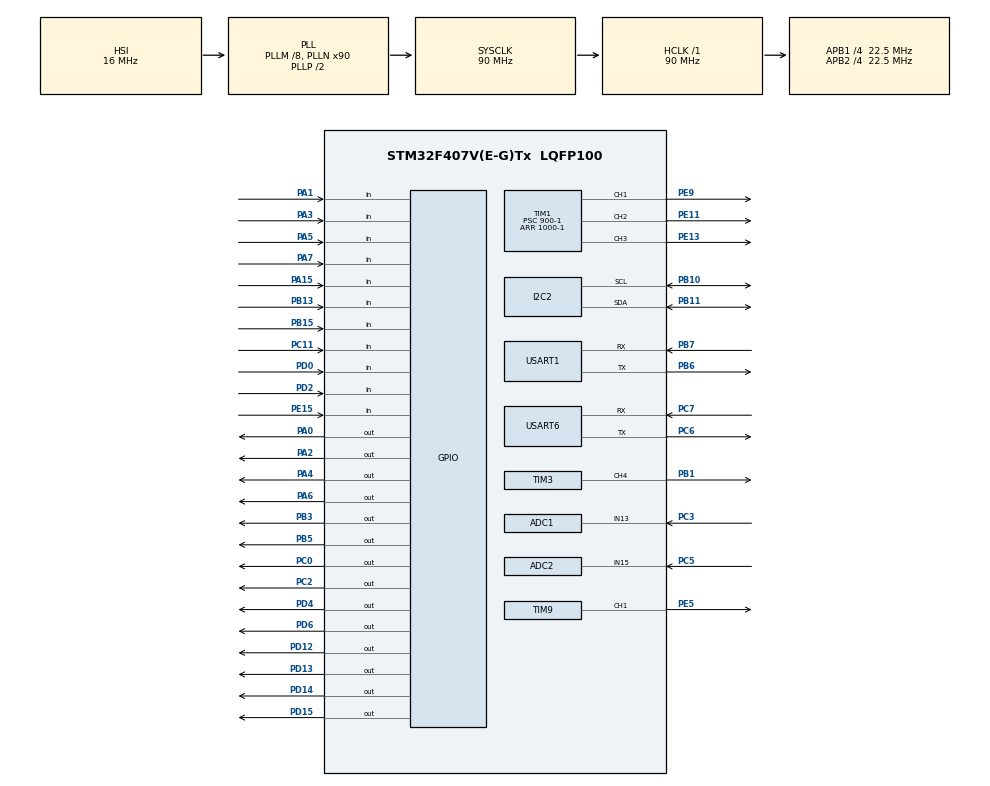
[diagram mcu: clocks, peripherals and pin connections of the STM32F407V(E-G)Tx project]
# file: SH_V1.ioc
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ADC1.Channel-0\#ChannelRegularConversion=ADC_CHANNEL_13
ADC1.NbrOfConversionFlag=1
ADC1.Rank-0\#ChannelRegularConversion=1
ADC1.SamplingTime-0\#ChannelRegularConversion=ADC_SAMPLETIME_3CYCLES
ADC1.master=1
ADC2.Channel-0\#ChannelRegularConversion=ADC_CHANNEL_15
ADC2.NbrOfConversionFlag=1
ADC2.Rank-0\#ChannelRegularConversion=1
ADC2.SamplingTime-0\#ChannelRegularConversion=ADC_SAMPLETIME_3CYCLES
FREERTOS.Tasks01=defaultTask,24,256,StartDefaultTask,Default,NULL,Dynamic,NULL,NULL;myTask02,10,128,StartTask02Function,Default,NULL,Dynamic,NULL,NULL;myTask03,9,128,StartTask03Function,Default,NULL,Dynamic,NULL,NULL;myTask04,8,128,StartTask04Function,Default,NULL,Dynamic,NULL,NULL;myTask05,8,128,StartTask05Function,Default,NULL,Dynamic,NULL,NULL;myTask06,8,128,StartTask06Function,Default,NULL,Dynamic,NULL,NULL
IWDG.Prescaler=IWDG_PRESCALER_64
IWDG.Reload=1499
Mcu.Family=STM32F4
Mcu.Name=STM32F407V(E-G)Tx
Mcu.Package=LQFP100
NVIC.PriorityGroup=NVIC_PRIORITYGROUP_4
NVIC.TIM1_UP_TIM10_IRQn=true\:0\:0\:false\:false\:true\:false\:false\:true
NVIC.TimeBase=TIM1_UP_TIM10_IRQn
NVIC.TimeBaseIP=TIM10
NVIC.USART1_IRQn=true\:8\:0\:true\:false\:true\:true\:true\:true
NVIC.USART6_IRQn=true\:5\:0\:true\:false\:true\:true\:true\:true
PA0-WKUP.Signal=GPIO_Output
PA1.Signal=GPIO_Input
PA13.Mode=Serial_Wire
PA13.Signal=SYS_JTMS-SWDIO
PA14.Mode=Serial_Wire
PA14.Signal=SYS_JTCK-SWCLK
PA15.GPIO_PuPd=GPIO_PULLUP
PA15.Signal=GPIO_Input
PA2.Signal=GPIO_Output
PA3.Signal=GPIO_Input
PA4.Signal=GPIO_Output
PA5.Signal=GPIO_Input
PA6.Signal=GPIO_Output
PA7.Signal=GPIO_Input
PB1.Signal=S_TIM3_CH4
PB10.Mode=I2C
PB10.Signal=I2C2_SCL
PB11.Mode=I2C
PB11.Signal=I2C2_SDA
PB13.Signal=GPIO_Input
PB15.Signal=GPIO_Input
PB3.Signal=GPIO_Output
PB5.Signal=GPIO_Output
PB6.Mode=Asynchronous
PB6.Signal=USART1_TX
PB7.Mode=Asynchronous
PB7.Signal=USART1_RX
PC0.Signal=GPIO_Output
PC11.GPIO_PuPd=GPIO_PULLUP
PC11.Signal=GPIO_Input
PC2.Signal=GPIO_Output
PC3.Signal=ADCx_IN13
PC5.Signal=ADCx_IN15
PC6.GPIO_PuPd=GPIO_PULLUP
PC6.Mode=Asynchronous
PC6.Signal=USART6_TX
PC7.GPIO_PuPd=GPIO_PULLUP
PC7.Mode=Asynchronous
PC7.Signal=USART6_RX
PD0.GPIO_PuPd=GPIO_PULLUP
PD0.Signal=GPIO_Input
PD12.Signal=GPIO_Output
PD13.Signal=GPIO_Output
PD14.Signal=GPIO_Output
PD15.Signal=GPIO_Output
PD2.GPIO_PuPd=GPIO_PULLUP
PD2.Signal=GPIO_Input
PD4.Signal=GPIO_Output
PD6.Signal=GPIO_Output
PE11.Signal=S_TIM1_CH2
PE13.Signal=S_TIM1_CH3
PE15.Signal=GPIO_Input
PE5.Signal=S_TIM9_CH1
PE9.Signal=S_TIM1_CH1
PH0-OSC_IN.Mode=HSE-External-Oscillator
PH0-OSC_IN.Signal=RCC_OSC_IN
PH1-OSC_OUT.Mode=HSE-External-Oscillator
PH1-OSC_OUT.Signal=RCC_OSC_OUT
ProjectManager.HeapSize=0x200
ProjectManager.StackSize=0x400
ProjectManager.TargetToolchain=MDK-ARM V5.27
RCC.48MHZClocksFreq_Value=45000000
RCC.AHBFreq_Value=90000000
RCC.APB1CLKDivider=RCC_HCLK_DIV4
RCC.APB1Freq_Value=22500000
RCC.APB1TimFreq_Value=45000000
RCC.APB2CLKDivider=RCC_HCLK_DIV4
RCC.APB2Freq_Value=22500000
RCC.APB2TimFreq_Value=45000000
RCC.CortexFreq_Value=90000000
RCC.HCLKFreq_Value=90000000
RCC.HSE_VALUE=25000000
RCC.HSI_VALUE=16000000
RCC.LSE_VALUE=32768
RCC.PLLM=8
RCC.PLLN=90
RCC.SYSCLKFreq_VALUE=90000000
RCC.SYSCLKSource=RCC_SYSCLKSOURCE_PLLCLK
RCC.VCOOutputFreq_Value=180000000
SH.ADCx_IN13.0=ADC1_IN13,IN13
SH.ADCx_IN15.0=ADC2_IN15,IN15
SH.S_TIM1_CH1.0=TIM1_CH1,PWM Generation1 CH1
SH.S_TIM1_CH2.0=TIM1_CH2,PWM Generation2 CH2
SH.S_TIM1_CH3.0=TIM1_CH3,PWM Generation3 CH3
SH.S_TIM3_CH4.0=TIM3_CH4,PWM Generation4 CH4
SH.S_TIM9_CH1.0=TIM9_CH1,PWM Generation1 CH1
TIM1.Channel-PWM\ Generation1\ CH1=TIM_CHANNEL_1
TIM1.Channel-PWM\ Generation2\ CH2=TIM_CHANNEL_2
TIM1.Channel-PWM\ Generation3\ CH3=TIM_CHANNEL_3
TIM1.Period=1000-1
TIM1.Prescaler=900-1
TIM3.Channel-PWM\ Generation4\ CH4=TIM_CHANNEL_4
TIM3.Period=1000-1
TIM3.Prescaler=900-1
TIM9.Channel-PWM\ Generation1\ CH1=TIM_CHANNEL_1
TIM9.Period=255-1
TIM9.Prescaler=692-1
USART1.VirtualMode=VM_ASYNC
USART6.VirtualMode=VM_ASYNC
VP_FREERTOS_VS_CMSIS_V2.Mode=CMSIS_V2
VP_IWDG_VS_IWDG.Mode=IWDG_Activate
VP_SYS_VS_tim10.Mode=TIM10
board=custom

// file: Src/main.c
/* USER CODE BEGIN Header */
/**
  ******************************************************************************
  * @file           : main.c
  * @brief          : Main program body
  ******************************************************************************
  * @attention
  *
  * <h2><center>&copy; Copyright (c) 2021 STMicroelectronics.
  * All rights reserved.</center></h2>
  *
  * This software component is licensed by ST under BSD 3-Clause license,
  * the "License"; You may not use this file except in compliance with the
  * License. You may obtain a copy of the License at:
  *                        opensource.org/licenses/BSD-3-Clause
  *
  ******************************************************************************
  */
/* USER CODE END Header */

#include "main.h"
#include "cmsis_os.h"

/* USER CODE BEGIN Includes */
#include "string.h"
#include "stdio.h"
#include "stdbool.h"
#include "math.h"

#include "dht11.h"
#include "lcd_i2c.h"
#include "music.h"
#include "servo.h"
/* USER CODE END Includes */

/* USER CODE BEGIN PD */
#define ON GPIO_PIN_SET
#define OFF GPIO_PIN_RESET

#define BATHROOM_LIGHT_PORT			GPIOA
#define BATHROOM_LIGHT_PIN 			GPIO_PIN_0

#define KITCHEN_LIGHT_PORT			GPIOA
#define KITCHEN_LIGHT_PIN 			GPIO_PIN_2

#define KITCHEN_FAN_PORT				GPIOC
#define KITCHEN_FAN_PIN 				GPIO_PIN_0

#define KITCHEN_WINDOW_PIN 			1

#define BEDROOM_LIGHT_PORT			GPIOA
#define BEDROOM_LIGHT_PIN 			GPIO_PIN_4

#define BEDROOM_FAN_PORT				GPIOC
#define BEDROOM_FAN_PIN 				GPIO_PIN_2

#define BEDROOM_WINDOW_PIN 			2

#define LIVINGROOM_LIGHT_PORT		GPIOA
#define LIVINGROOM_LIGHT_PIN 		GPIO_PIN_6

#define DRYINGPOLE_PIN		3
#define GATE_PIN					4

#define GAS_THRESH 10

#define txBuf_size 30
#define rxBuf_size 50

#define R1_PORT GPIOB
#define R1_PIN 	GPIO_PIN_5

#define R2_PORT GPIOB
#define R2_PIN 	GPIO_PIN_3

#define R3_PORT GPIOD
#define R3_PIN 	GPIO_PIN_6

#define R4_PORT GPIOD
#define R4_PIN 	GPIO_PIN_4

#define C1_PORT GPIOD
#define C1_PIN 	GPIO_PIN_2

#define C2_PORT GPIOD
#define C2_PIN 	GPIO_PIN_0

#define C3_PORT GPIOC
#define C3_PIN 	GPIO_PIN_11

#define C4_PORT GPIOA
#define C4_PIN 	GPIO_PIN_15

char rxBuf[rxBuf_size];

char rxBuf_receive[2];
uint16_t rx_Index = 0;
char temp_receive[rxBuf_size];

char data_GAS_char[12];
float gas_in_ppm = 0;

char data_PIR_char[6] ;
char pir_char[6];
bool pir_bool_old = 0;

char data_RAIN_char[7];
char rain_char[7];
bool rain_bool_old = 0;

char data_FLAME_char[8];
char flame_char[8];
bool flame_bool_old = 0;

unsigned char data_dht11[4];
char data_dht11_char[15];

char debug_char[10];

long timeout_to_send_gasvalue		= 0;
long timeout_to_send_dht11value = 0;
long timeout_to_send_flamevalue = 0;
long timeout_to_send_rainvalue 	= 0;
long timeout_to_send_pirvalue 	= 0;
long timeout_to_send_hallvalue 	= 0;

/* USER CODE END PD */

ADC_HandleTypeDef hadc1;
ADC_HandleTypeDef hadc2;

I2C_HandleTypeDef hi2c2;

IWDG_HandleTypeDef hiwdg;

TIM_HandleTypeDef htim1;
TIM_HandleTypeDef htim3;
TIM_HandleTypeDef htim9;

UART_HandleTypeDef huart1;
UART_HandleTypeDef huart6;

/* Definitions for defaultTask */
osThreadId_t defaultTaskHandle;
const osThreadAttr_t defaultTask_attributes = {
  .name = "defaultTask",
  .priority = (osPriority_t) osPriorityNormal,
  .stack_size = 256 * 4
};
/* Definitions for myTask02 */
osThreadId_t myTask02Handle;
const osThreadAttr_t myTask02_attributes = {
  .name = "myTask02",
  .priority = (osPriority_t) osPriorityLow2,
  .stack_size = 128 * 4
};
/* Definitions for myTask03 */
osThreadId_t myTask03Handle;
const osThreadAttr_t myTask03_attributes = {
  .name = "myTask03",
  .priority = (osPriority_t) osPriorityLow1,
  .stack_size = 128 * 4
};
/* Definitions for myTask04 */
osThreadId_t myTask04Handle;
const osThreadAttr_t myTask04_attributes = {
  .name = "myTask04",
  .priority = (osPriority_t) osPriorityLow,
  .stack_size = 128 * 4
};
/* Definitions for myTask05 */
osThreadId_t myTask05Handle;
const osThreadAttr_t myTask05_attributes = {
  .name = "myTask05",
  .priority = (osPriority_t) osPriorityLow,
  .stack_size = 128 * 4
};
/* Definitions for myTask06 */
osThreadId_t myTask06Handle;
const osThreadAttr_t myTask06_attributes = {
  .name = "myTask06",
  .priority = (osPriority_t) osPriorityLow,
  .stack_size = 128 * 4
};

void SystemClock_Config(void);
static void MX_GPIO_Init(void);
static void MX_ADC1_Init(void);
static void MX_ADC2_Init(void);
static void MX_I2C2_Init(void);
static void MX_TIM1_Init(void);
static void MX_TIM3_Init(void);
static void MX_TIM9_Init(void);
static void MX_USART6_UART_Init(void);
static void MX_USART1_UART_Init(void);
static void MX_IWDG_Init(void);
void StartDefaultTask(void *argument);
void StartTask02Function(void *argument);
void StartTask03Function(void *argument);
void StartTask04Function(void *argument);
void StartTask05Function(void *argument);
void StartTask06Function(void *argument);

/* USER CODE BEGIN 0 */
//static void serial_write(void* data, size_t len){
//	//HAL_UART_Transmit(&huart1, (uint8_t*)data, (uint16_t)len, 100);
//	HAL_UART_Transmit_DMA(&huart1, (uint8_t*)data, sizeof(data));
//}

//void serial_send_cmd(char data[]){
//		char line[txBuf_size];
//		snprintf(line, sizeof(line), "%s\r\n", data);
//		serial_write(line, strlen(line));
//}
void serial_send_cmd(char data[]){
		char line[txBuf_size];
		snprintf(line, sizeof(line), "%s\r\n", data);
		HAL_UART_Transmit(&huart1, (uint8_t*)line, strlen(line) , 100);
		//HAL_UART_Transmit_IT(&huart1, (uint8_t*)line, strlen(line));
		//HAL_UART_Transmit_DMA(&huart1, (uint8_t*)line, strlen(line));
}

char* serial_read(){
	strcpy(temp_receive, rxBuf);
	return temp_receive;
}

void control_light	(char room[], bool state){
	if(strcmp(room,"Bathroom") == 0){
		if(state == ON){
			HAL_GPIO_WritePin(BATHROOM_LIGHT_PORT, BATHROOM_LIGHT_PIN, ON);
		}else if(state == OFF){
			HAL_GPIO_WritePin(BATHROOM_LIGHT_PORT, BATHROOM_LIGHT_PIN, OFF);
		}
	}
	else if(strcmp(room,"Kitchen") == 0){
		if(state == ON){
			HAL_GPIO_WritePin(KITCHEN_LIGHT_PORT, KITCHEN_LIGHT_PIN, ON);
		}else if(state == OFF){
			HAL_GPIO_WritePin(KITCHEN_LIGHT_PORT, KITCHEN_LIGHT_PIN, OFF);
		}
	}
	else if(strcmp(room,"Bedroom") == 0){
		if(state == ON){
			HAL_GPIO_WritePin(BEDROOM_LIGHT_PORT, BEDROOM_LIGHT_PIN, ON);
		}else if(state == OFF){
			HAL_GPIO_WritePin(BEDROOM_LIGHT_PORT, BEDROOM_LIGHT_PIN, OFF);
		}
	}
	else if(strcmp(room,"Livingroom") == 0){
		if(state == ON){
			HAL_GPIO_WritePin(LIVINGROOM_LIGHT_PORT, LIVINGROOM_LIGHT_PIN, ON);
		}else if(state == OFF){
			HAL_GPIO_WritePin(LIVINGROOM_LIGHT_PORT, LIVINGROOM_LIGHT_PIN, OFF);
		}
	}
}

void control_fan		(char room[], bool state){
	if(strcmp(room,"Bedroom") == 0){
		if(state == ON){
			HAL_GPIO_WritePin(BEDROOM_FAN_PORT, BEDROOM_FAN_PIN, ON);
		}else if(state == OFF){
			HAL_GPIO_WritePin(BEDROOM_FAN_PORT, BEDROOM_FAN_PIN, OFF);
		}
	}
	else if(strcmp(room,"Kitchen") == 0){
		if(state == ON){
			HAL_GPIO_WritePin(KITCHEN_FAN_PORT, KITCHEN_FAN_PIN, ON);
		}else if(state == OFF){
			HAL_GPIO_WritePin(KITCHEN_FAN_PORT, KITCHEN_FAN_PIN, OFF);
		}
	}
}

void control_window	(char room[], bool state){
	if(strcmp(room,"Bedroom") == 0){
		if(state == ON){
			servo_position(BEDROOM_WINDOW_PIN, 90);
			HAL_Delay(500);
		}else if(state == OFF){
			servo_position(BEDROOM_WINDOW_PIN, 0);
			HAL_Delay(500);
		}
	}
	else if(strcmp(room,"Kitchen") == 0){
		if(state == ON){
			servo_position(KITCHEN_WINDOW_PIN, 90);
		}else if(state == OFF){
			servo_position(KITCHEN_WINDOW_PIN, 0);
		}
	}
}

void control_homescreen(char device[], bool state){
	if(strcmp(device,"bell") == 0){
		if(state == ON){
			music_play(500);
		}else if(state == OFF){
			music_stop();
		}
	}
	if(strcmp(device,"dryingpole") == 0){
		if(state == ON){
			servo_position(DRYINGPOLE_PIN, 90);
		}else if(state == OFF){
			servo_position(DRYINGPOLE_PIN, 0);
		}
	}
	if(strcmp(device,"gate") == 0){
		if(state == ON){
			servo_position(GATE_PIN, 90);
		}else if(state == OFF){
			servo_position(GATE_PIN, 0);
		}
	}
	if(strcmp(device,"smartlight") == 0){
		if(state == ON){
			control_light("Livingroom",ON);
		}else if(state == OFF){
			control_light("Livingroom",OFF);
		}
	}

}

void control_home(){
	char temp[2];
	serial_read();

	if(strncmp(temp_receive,"Bathroom/light",14) == 0){
		temp[0] = temp_receive[15];
		if(temp[0] == 'T'){
			control_light("Bathroom",ON);
		}else if(temp[0] == 'F'){
			control_light("Bathroom", OFF);
		}
	}
	if(strncmp(temp_receive,"Bedroom/light",13) == 0){
		temp[0] = temp_receive[14];
		if(temp[0] == 'T'){
			control_light("Bedroom",ON);
		}else if(temp[0] == 'F'){
			control_light("Bedroom", OFF);
		}
	}
	if(strncmp(temp_receive,"Bedroom/window",14) == 0){
		temp[0] = temp_receive[15];
		if(temp[0] == 'T'){
			control_window("Bedroom",ON);
		}else if(temp[0] == 'F'){
			control_window("Bedroom",OFF);
		}
	}
	if(strncmp(temp_receive,"Bedroom/fan",11) == 0){
		temp[0] = temp_receive[12];
		if(temp[0] == 'T'){
			control_fan("Bedroom",ON);
		}else if(temp[0] == 'F'){
			control_fan("Bedroom",OFF);
		}
	}
	if(strncmp(temp_receive,"Homescreen/bell",15) == 0){
		temp[0] = temp_receive[16];
		if(temp[0] == 'T'){
			control_homescreen("bell",ON);
		}else if(temp[0] == 'F'){
			control_homescreen("bell",OFF);
		}
	}
	if(strncmp(temp_receive,"Homescreen/dryingpole",21) == 0){
		temp[0] = temp_receive[22];
		if(temp[0] == 'T'){
			control_homescreen("dryingpole",ON);
			strcpy(rxBuf,"");
		}else if(temp[0] == 'F'){
			control_homescreen("dryingpole",OFF);
			strcpy(rxBuf,"");
		}
	}
	if(strncmp(temp_receive,"Homescreen/gate",15) == 0){
		temp[0] = temp_receive[16];
		if(temp[0] == 'T'){
			control_homescreen("gate",ON);
		}else if(temp[0] == 'F'){
			control_homescreen("gate",OFF);
		}
	}
	if(strncmp(temp_receive,"Homescreen/smartlight",21) == 0){
		temp[0] = temp_receive[22];
		if(temp[0] == 'T'){
			control_homescreen("smartlight",ON);

			strcpy(rxBuf,"");
		}else if(temp[0] == 'F'){
			control_homescreen("smartlight",OFF);

			strcpy(rxBuf,"");
		}
	}
	if(strncmp(temp_receive,"Kitchen/fan",11) == 0){
		temp[0] = temp_receive[12];
		if(temp[0] == 'T'){
			control_fan("Kitchen",ON);
		}else if(temp[0] == 'F'){
			control_fan("Kitchen",OFF);
		}
	}
	if(strncmp(temp_receive,"Kitchen/light",13) == 0){
		temp[0] = temp_receive[14];
		if(temp[0] == 'T'){
			control_light("Kitchen",ON);
		}else if(temp[0] == 'F'){
			control_light("Kitchen",OFF);
		}
	}
	if(strncmp(temp_receive,"Kitchen/window",14) == 0){
		temp[0] = temp_receive[15];
		if(temp[0] == 'T'){
			control_window("Kitchen",ON);
		}else if(temp[0] == 'F'){
			control_window("Kitchen",OFF);
		}
	}
}

void HAL_UART_RxCpltCallback(UART_HandleTypeDef *UartHandle){
  /* Prevent unused argument(s) compilation warning */
	if(UartHandle->Instance==USART6){
		if (rx_Index == 0){
			for(int i = 0; i < rxBuf_size; i++){
				rxBuf[i] = 0;
			}
			//strcpy(rxBuf,"");
		}
		if (rxBuf_receive[0] != '\n'){
			rxBuf[rx_Index]=rxBuf_receive[0];
			rx_Index++;
		}
		else{
			strcpy(temp_receive,rxBuf);
			HAL_GPIO_TogglePin(GPIOD,GPIO_PIN_12);
			rx_Index = 0;
		}
	}
  HAL_UART_Receive_IT(&huart6 , (uint8_t*)rxBuf_receive, 1);
}

//void HAL_UART_ErrorCallback(UART_HandleTypeDef *huart){
//	if(huart == &huart6)
//	{
//		HAL_UART_DeInit(&huart1);
//		MX_USART1_UART_Init();
//	}
//}

/***********************FUNCTION FOR READING SENSOR*******************/
float read_gas_ppm_fixed(){
	float gas_value_inVolts = 0.0;
	double ppm_in_log;
	float ppm;

	HAL_ADC_Start(&hadc1);
	HAL_Delay(100);
	gas_value_inVolts = HAL_ADC_GetValue(&hadc1);
	HAL_ADC_Stop(&hadc1);
	gas_value_inVolts = 5*gas_value_inVolts/4095;

	ppm_in_log = (log10(((5 - gas_value_inVolts)/gas_value_inVolts)/0.1260) - 1.2908)/(-0.461);

	ppm = pow(10,ppm_in_log);

	return ppm;
}
char* read_rain_char(){
	bool rain_bool;
	rain_bool = !HAL_GPIO_ReadPin(GPIOA, GPIO_PIN_1);
	snprintf(rain_char,sizeof(rain_char),"RAIN %d",rain_bool);

  return rain_char; //IT'S CAN RETURN GLOBAL VARIABLE ONLY
}
char* read_pir_char(){
	bool pir_bool;
	pir_bool = HAL_GPIO_ReadPin(GPIOA, GPIO_PIN_7);
	snprintf(pir_char,sizeof(pir_char),"PIR %d",pir_bool);

  return pir_char; //IT'S CAN RETURN GLOBAL VARIABLE ONLY
}
char* read_flame_char(){
	bool flame_bool;
	flame_bool = !HAL_GPIO_ReadPin(GPIOA, GPIO_PIN_3);
	snprintf(flame_char,sizeof(flame_char),"FLAME %d",flame_bool);

  return flame_char; //IT'S CAN RETURN GLOBAL VARIABLE ONLY
}
char read_keypad (void){

	/* Make ROW 1 LOW and all other ROWs HIGH */
	HAL_GPIO_WritePin (R1_PORT, R1_PIN, GPIO_PIN_RESET);  //Pull the R1 low
	HAL_GPIO_WritePin (R2_PORT, R2_PIN, GPIO_PIN_SET);  // Pull the R2 High
	HAL_GPIO_WritePin (R3_PORT, R3_PIN, GPIO_PIN_SET);  // Pull the R3 High
	HAL_GPIO_WritePin (R4_PORT, R4_PIN, GPIO_PIN_SET);  // Pull the R4 High

	if (!(HAL_GPIO_ReadPin (C1_PORT, C1_PIN)))   // if the Col 1 is low
	{
		HAL_Delay(20);
		if (!(HAL_GPIO_ReadPin (C1_PORT, C1_PIN))){
			while (!(HAL_GPIO_ReadPin (C1_PORT, C1_PIN)));   // wait till the button is pressed
			return '1';
		}
	}

	if (!(HAL_GPIO_ReadPin (C2_PORT, C2_PIN)))   // if the Col 2 is low
	{
		while (!(HAL_GPIO_ReadPin (C2_PORT, C2_PIN)));   // wait till the button is pressed
		return '2';
	}

	if (!(HAL_GPIO_ReadPin (C3_PORT, C3_PIN)))   // if the Col 3 is low
	{
		while (!(HAL_GPIO_ReadPin (C3_PORT, C3_PIN)));   // wait till the button is pressed
		return '3';
	}

	if (!(HAL_GPIO_ReadPin (C4_PORT, C4_PIN)))   // if the Col 4 is low
	{
		while (!(HAL_GPIO_ReadPin (C4_PORT, C4_PIN)));   // wait till the button is pressed
		return 'A';
	}

	/* Make ROW 2 LOW and all other ROWs HIGH */
	HAL_GPIO_WritePin (R1_PORT, R1_PIN, GPIO_PIN_SET);  //Pull the R1 low
	HAL_GPIO_WritePin (R2_PORT, R2_PIN, GPIO_PIN_RESET);  // Pull the R2 High
	HAL_GPIO_WritePin (R3_PORT, R3_PIN, GPIO_PIN_SET);  // Pull the R3 High
	HAL_GPIO_WritePin (R4_PORT, R4_PIN, GPIO_PIN_SET);  // Pull the R4 High

	if (!(HAL_GPIO_ReadPin (C1_PORT, C1_PIN)))   // if the Col 1 is low
	{
		while (!(HAL_GPIO_ReadPin (C1_PORT, C1_PIN)));   // wait till the button is pressed
		return '4';
	}

	if (!(HAL_GPIO_ReadPin (C2_PORT, C2_PIN)))   // if the Col 2 is low
	{
		while (!(HAL_GPIO_ReadPin (C2_PORT, C2_PIN)));   // wait till the button is pressed
		return '5';
	}

	if (!(HAL_GPIO_ReadPin (C3_PORT, C3_PIN)))   // if the Col 3 is low
	{
		while (!(HAL_GPIO_ReadPin (C3_PORT, C3_PIN)));   // wait till the button is pressed
		return '6';
	}

	if (!(HAL_GPIO_ReadPin (C4_PORT, C4_PIN)))   // if the Col 4 is low
	{
		while (!(HAL_GPIO_ReadPin (C4_PORT, C4_PIN)));   // wait till the button is pressed
		return 'B';
	}

	/* Make ROW 3 LOW and all other ROWs HIGH */
	HAL_GPIO_WritePin (R1_PORT, R1_PIN, GPIO_PIN_SET);  //Pull the R1 low
	HAL_GPIO_WritePin (R2_PORT, R2_PIN, GPIO_PIN_SET);  // Pull the R2 High
	HAL_GPIO_WritePin (R3_PORT, R3_PIN, GPIO_PIN_RESET);  // Pull the R3 High
	HAL_GPIO_WritePin (R4_PORT, R4_PIN, GPIO_PIN_SET);  // Pull the R4 High

	if (!(HAL_GPIO_ReadPin (C1_PORT, C1_PIN)))   // if the Col 1 is low
	{
		while (!(HAL_GPIO_ReadPin (C1_PORT, C1_PIN)));   // wait till the button is pressed
		return '7';
	}

	if (!(HAL_GPIO_ReadPin (C2_PORT, C2_PIN)))   // if the Col 2 is low
	{
		while (!(HAL_GPIO_ReadPin (C2_PORT, C2_PIN)));   // wait till the button is pressed
		return '8';
	}

	if (!(HAL_GPIO_ReadPin (C3_PORT, C3_PIN)))   // if the Col 3 is low
	{
		while (!(HAL_GPIO_ReadPin (C3_PORT, C3_PIN)));   // wait till the button is pressed
		return '9';
	}

	if (!(HAL_GPIO_ReadPin (C4_PORT, C4_PIN)))   // if the Col 4 is low
	{
		while (!(HAL_GPIO_ReadPin (C4_PORT, C4_PIN)));   // wait till the button is pressed
		return 'C';
	}

	/* Make ROW 4 LOW and all other ROWs HIGH */
	HAL_GPIO_WritePin (R1_PORT, R1_PIN, GPIO_PIN_SET);  //Pull the R1 low
	HAL_GPIO_WritePin (R2_PORT, R2_PIN, GPIO_PIN_SET);  // Pull the R2 High
	HAL_GPIO_WritePin (R3_PORT, R3_PIN, GPIO_PIN_SET);  // Pull the R3 High
	HAL_GPIO_WritePin (R4_PORT, R4_PIN, GPIO_PIN_RESET);  // Pull the R4 High

	if (!(HAL_GPIO_ReadPin (C1_PORT, C1_PIN)))   // if the Col 1 is low
	{
		while (!(HAL_GPIO_ReadPin (C1_PORT, C1_PIN)));   // wait till the button is pressed
		return '*';
	}

	if (!(HAL_GPIO_ReadPin (C2_PORT, C2_PIN)))   // if the Col 2 is low
	{
		while (!(HAL_GPIO_ReadPin (C2_PORT, C2_PIN)));   // wait till the button is pressed
		return '0';
	}

	if (!(HAL_GPIO_ReadPin (C3_PORT, C3_PIN)))   // if the Col 3 is low
	{
		while (!(HAL_GPIO_ReadPin (C3_PORT, C3_PIN)));   // wait till the button is pressed
		return '#';
	}

	if (!(HAL_GPIO_ReadPin (C4_PORT, C4_PIN)))   // if the Col 4 is low
	{
		while (!(HAL_GPIO_ReadPin (C4_PORT, C4_PIN)));   // wait till the button is pressed
		return 'D';
	}
	return NULL;
}

void automation_home(){
	bool pir_state = HAL_GPIO_ReadPin(GPIOA, GPIO_PIN_7);
	bool rain_state = !HAL_GPIO_ReadPin(GPIOA, GPIO_PIN_1);
	//PIR Sensor
	if(pir_state == true){
		control_light("Livingroom",ON);
		HAL_Delay(100);
		serial_send_cmd("Homescreen smartlight ON");
		HAL_Delay(1000);
	}

	//RAIN Sensor
	if (rain_state == true){
		servo_position(DRYINGPOLE_PIN, 0);
		serial_send_cmd("Homescreen dryingpole OFF");
		HAL_Delay(1000);
	}

	//GAS and FLAME Sensor
	if ( (read_gas_ppm_fixed() > GAS_THRESH) || (!HAL_GPIO_ReadPin(GPIOA, GPIO_PIN_3)) ){
		//Deal with problem
		music_play(850);
		control_window("Kitchen", ON);

		//Update to app
		serial_send_cmd("Kitchen window ON");
		HAL_Delay(1000);
		serial_send_cmd("Homescreen bell ON");
		HAL_Delay(1000);

	}else {
		music_stop();
		serial_send_cmd("Homescreen bell OFF");
		HAL_Delay(1000);
	}

}
/* USER CODE END 0 */

int main(void)
{

  /* MCU Configuration--------------------------------------------------------*/

  /* Reset of all peripherals, Initializes the Flash interface and the Systick. */
  HAL_Init();

  /* Configure the system clock */
  SystemClock_Config();

  /* Initialize all configured peripherals */
  MX_GPIO_Init();
  MX_ADC1_Init();
  MX_ADC2_Init();
  MX_I2C2_Init();
  MX_TIM1_Init();
  MX_TIM3_Init();
  MX_TIM9_Init();
  MX_USART6_UART_Init();
  MX_USART1_UART_Init();
  MX_IWDG_Init();
  /* USER CODE BEGIN 2 */
	music_Init();
	servo_Init();

	LCD_Init();
	LCD_i2cDeviceCheck();
	LCD_Clear();
	LCD_BackLight(LCD_BL_ON);

	HAL_UART_Receive_IT(&huart6 , (uint8_t*)rxBuf_receive, 1);
  /* USER CODE END 2 */

  /* Init scheduler */
  osKernelInitialize();

  /* Create the thread(s) */
  /* creation of defaultTask */
  defaultTaskHandle = osThreadNew(StartDefaultTask, NULL, &defaultTask_attributes);

  /* creation of myTask02 */
  myTask02Handle = osThreadNew(StartTask02Function, NULL, &myTask02_attributes);

  /* creation of myTask03 */
  myTask03Handle = osThreadNew(StartTask03Function, NULL, &myTask03_attributes);

  /* creation of myTask04 */
  myTask04Handle = osThreadNew(StartTask04Function, NULL, &myTask04_attributes);

  /* creation of myTask05 */
  myTask05Handle = osThreadNew(StartTask05Function, NULL, &myTask05_attributes);

  /* creation of myTask06 */
  myTask06Handle = osThreadNew(StartTask06Function, NULL, &myTask06_attributes);

  /* Start scheduler */
  osKernelStart();

  /* We should never get here as control is now taken by the scheduler */
  /* Infinite loop */
  while (1)
  {

    /* USER CODE BEGIN 3 */
//		servo_position(BEDROOM_WINDOW_PIN, 180);
//		HAL_Delay(500);
//		servo_position(BEDROOM_WINDOW_PIN, 90);
//		HAL_Delay(500);
//		control_home();

//		if(HAL_GetTick() - timeout_to_send_dht11value >= 30000){
//			DHT11_Init();
//			read_DHT11(data_dht11);
//			sprintf(data_dht11_char,"DHT11 %d.%d %d.%d",data_dht11[2],data_dht11[3],data_dht11[0],data_dht11[1]);
//			serial_send_cmd(data_dht11_char);
//			HAL_Delay(500);
//			timeout_to_send_dht11value = HAL_GetTick();
//		}
//
//		if(HAL_GetTick() - timeout_to_send_gasvalue >= 20000){
//			gas_in_ppm = read_gas_ppm_fixed();
//			snprintf(data_GAS_char,sizeof(data_GAS_char),"GAS %4.2f",gas_in_ppm);
//			serial_send_cmd(data_GAS_char);
//			HAL_Delay(500);
//			if(gas_in_ppm >= 10){
//				music_play(500);
//				HAL_Delay(200);
//				music_play(650);
//				HAL_Delay(200);
//			}
//			else{
//				music_stop();
//			}
//			timeout_to_send_gasvalue = HAL_GetTick();
//		}
//
//		if(HAL_GetTick() - timeout_to_send_pirvalue >= 5000){
//			strcpy(data_PIR_char,read_pir_char());
//			serial_send_cmd(data_PIR_char);
//			HAL_Delay(500);
//
//			timeout_to_send_pirvalue = HAL_GetTick();
//		}
//
//		if(HAL_GetTick() - timeout_to_send_rainvalue >= 7000){
//			strcpy(data_RAIN_char,read_rain_char());
//			serial_send_cmd(data_RAIN_char);
//			HAL_Delay(500);
//
//			timeout_to_send_rainvalue = HAL_GetTick();
//		}
//
//		if(HAL_GetTick() - timeout_to_send_flamevalue >= 3000){
//			strcpy(data_FLAME_char,read_flame_char());
//			serial_send_cmd(data_FLAME_char);
//			HAL_Delay(500);
//
//			timeout_to_send_flamevalue = HAL_GetTick();
//		}
//
//		debug_char[0] = NULL;
//		debug_char[0] = read_keypad();
//		if(debug_char[0] != NULL ){
//			LCD_SetCursor(1,1);
//			LCD_Send_String(debug_char,STR_NOSLIDE);
//		}
//
//		HAL_GPIO_TogglePin(GPIOD,GPIO_PIN_12);
//		HAL_Delay(100);
  }
  /* USER CODE END 3 */
}

void SystemClock_Config(void)
{
  RCC_OscInitTypeDef RCC_OscInitStruct = {0};
  RCC_ClkInitTypeDef RCC_ClkInitStruct = {0};

  /** Configure the main internal regulator output voltage
  */
  __HAL_RCC_PWR_CLK_ENABLE();
  __HAL_PWR_VOLTAGESCALING_CONFIG(PWR_REGULATOR_VOLTAGE_SCALE1);
  /** Initializes the CPU, AHB and APB busses clocks
  */
  RCC_OscInitStruct.OscillatorType = RCC_OSCILLATORTYPE_HSI|RCC_OSCILLATORTYPE_LSI;
  RCC_OscInitStruct.HSIState = RCC_HSI_ON;
  RCC_OscInitStruct.HSICalibrationValue = RCC_HSICALIBRATION_DEFAULT;
  RCC_OscInitStruct.LSIState = RCC_LSI_ON;
  RCC_OscInitStruct.PLL.PLLState = RCC_PLL_ON;
  RCC_OscInitStruct.PLL.PLLSource = RCC_PLLSOURCE_HSI;
  RCC_OscInitStruct.PLL.PLLM = 8;
  RCC_OscInitStruct.PLL.PLLN = 90;
  RCC_OscInitStruct.PLL.PLLP = RCC_PLLP_DIV2;
  RCC_OscInitStruct.PLL.PLLQ = 4;
  if (HAL_RCC_OscConfig(&RCC_OscInitStruct) != HAL_OK)
  {
    Error_Handler();
  }
  /** Initializes the CPU, AHB and APB busses clocks
  */
  RCC_ClkInitStruct.ClockType = RCC_CLOCKTYPE_HCLK|RCC_CLOCKTYPE_SYSCLK
                              |RCC_CLOCKTYPE_PCLK1|RCC_CLOCKTYPE_PCLK2;
  RCC_ClkInitStruct.SYSCLKSource = RCC_SYSCLKSOURCE_PLLCLK;
  RCC_ClkInitStruct.AHBCLKDivider = RCC_SYSCLK_DIV1;
  RCC_ClkInitStruct.APB1CLKDivider = RCC_HCLK_DIV4;
  RCC_ClkInitStruct.APB2CLKDivider = RCC_HCLK_DIV4;

  if (HAL_RCC_ClockConfig(&RCC_ClkInitStruct, FLASH_LATENCY_2) != HAL_OK)
  {
    Error_Handler();
  }
}

static void MX_ADC1_Init(void)
{

  ADC_ChannelConfTypeDef sConfig = {0};

  /** Configure the global features of the ADC (Clock, Resolution, Data Alignment and number of conversion)
  */
  hadc1.Instance = ADC1;
  hadc1.Init.ClockPrescaler = ADC_CLOCK_SYNC_PCLK_DIV2;
  hadc1.Init.Resolution = ADC_RESOLUTION_12B;
  hadc1.Init.ScanConvMode = DISABLE;
  hadc1.Init.ContinuousConvMode = DISABLE;
  hadc1.Init.DiscontinuousConvMode = DISABLE;
  hadc1.Init.ExternalTrigConvEdge = ADC_EXTERNALTRIGCONVEDGE_NONE;
  hadc1.Init.ExternalTrigConv = ADC_SOFTWARE_START;
  hadc1.Init.DataAlign = ADC_DATAALIGN_RIGHT;
  hadc1.Init.NbrOfConversion = 1;
  hadc1.Init.DMAContinuousRequests = DISABLE;
  hadc1.Init.EOCSelection = ADC_EOC_SINGLE_CONV;
  if (HAL_ADC_Init(&hadc1) != HAL_OK)
  {
    Error_Handler();
  }
  /** Configure for the selected ADC regular channel its corresponding rank in the sequencer and its sample time.
  */
  sConfig.Channel = ADC_CHANNEL_13;
  sConfig.Rank = 1;
  sConfig.SamplingTime = ADC_SAMPLETIME_3CYCLES;
  if (HAL_ADC_ConfigChannel(&hadc1, &sConfig) != HAL_OK)
  {
    Error_Handler();
  }

}

static void MX_ADC2_Init(void)
{

  ADC_ChannelConfTypeDef sConfig = {0};

  /** Configure the global features of the ADC (Clock, Resolution, Data Alignment and number of conversion)
  */
  hadc2.Instance = ADC2;
  hadc2.Init.ClockPrescaler = ADC_CLOCK_SYNC_PCLK_DIV2;
  hadc2.Init.Resolution = ADC_RESOLUTION_12B;
  hadc2.Init.ScanConvMode = DISABLE;
  hadc2.Init.ContinuousConvMode = DISABLE;
  hadc2.Init.DiscontinuousConvMode = DISABLE;
  hadc2.Init.ExternalTrigConvEdge = ADC_EXTERNALTRIGCONVEDGE_NONE;
  hadc2.Init.ExternalTrigConv = ADC_SOFTWARE_START;
  hadc2.Init.DataAlign = ADC_DATAALIGN_RIGHT;
  hadc2.Init.NbrOfConversion = 1;
  hadc2.Init.DMAContinuousRequests = DISABLE;
  hadc2.Init.EOCSelection = ADC_EOC_SINGLE_CONV;
  if (HAL_ADC_Init(&hadc2) != HAL_OK)
  {
    Error_Handler();
  }
  /** Configure for the selected ADC regular channel its corresponding rank in the sequencer and its sample time.
  */
  sConfig.Channel = ADC_CHANNEL_15;
  sConfig.Rank = 1;
  sConfig.SamplingTime = ADC_SAMPLETIME_3CYCLES;
  if (HAL_ADC_ConfigChannel(&hadc2, &sConfig) != HAL_OK)
  {
    Error_Handler();
  }

}

static void MX_I2C2_Init(void)
{

  hi2c2.Instance = I2C2;
  hi2c2.Init.ClockSpeed = 100000;
  hi2c2.Init.DutyCycle = I2C_DUTYCYCLE_2;
  hi2c2.Init.OwnAddress1 = 0;
  hi2c2.Init.AddressingMode = I2C_ADDRESSINGMODE_7BIT;
  hi2c2.Init.DualAddressMode = I2C_DUALADDRESS_DISABLE;
  hi2c2.Init.OwnAddress2 = 0;
  hi2c2.Init.GeneralCallMode = I2C_GENERALCALL_DISABLE;
  hi2c2.Init.NoStretchMode = I2C_NOSTRETCH_DISABLE;
  if (HAL_I2C_Init(&hi2c2) != HAL_OK)
  {
    Error_Handler();
  }

}

static void MX_IWDG_Init(void)
{

  hiwdg.Instance = IWDG;
  hiwdg.Init.Prescaler = IWDG_PRESCALER_64;
  hiwdg.Init.Reload = 1499;
  if (HAL_IWDG_Init(&hiwdg) != HAL_OK)
  {
    Error_Handler();
  }

}

static void MX_TIM1_Init(void)
{

  TIM_MasterConfigTypeDef sMasterConfig = {0};
  TIM_OC_InitTypeDef sConfigOC = {0};
  TIM_BreakDeadTimeConfigTypeDef sBreakDeadTimeConfig = {0};

  htim1.Instance = TIM1;
  htim1.Init.Prescaler = 900-1;
  htim1.Init.CounterMode = TIM_COUNTERMODE_UP;
  htim1.Init.Period = 1000-1;
  htim1.Init.ClockDivision = TIM_CLOCKDIVISION_DIV1;
  htim1.Init.RepetitionCounter = 0;
  htim1.Init.AutoReloadPreload = TIM_AUTORELOAD_PRELOAD_DISABLE;
  if (HAL_TIM_PWM_Init(&htim1) != HAL_OK)
  {
    Error_Handler();
  }
  sMasterConfig.MasterOutputTrigger = TIM_TRGO_RESET;
  sMasterConfig.MasterSlaveMode = TIM_MASTERSLAVEMODE_DISABLE;
  if (HAL_TIMEx_MasterConfigSynchronization(&htim1, &sMasterConfig) != HAL_OK)
  {
    Error_Handler();
  }
  sConfigOC.OCMode = TIM_OCMODE_PWM1;
  sConfigOC.Pulse = 0;
  sConfigOC.OCPolarity = TIM_OCPOLARITY_HIGH;
  sConfigOC.OCNPolarity = TIM_OCNPOLARITY_HIGH;
  sConfigOC.OCFastMode = TIM_OCFAST_DISABLE;
  sConfigOC.OCIdleState = TIM_OCIDLESTATE_RESET;
  sConfigOC.OCNIdleState = TIM_OCNIDLESTATE_RESET;
  if (HAL_TIM_PWM_ConfigChannel(&htim1, &sConfigOC, TIM_CHANNEL_1) != HAL_OK)
  {
    Error_Handler();
  }
  if (HAL_TIM_PWM_ConfigChannel(&htim1, &sConfigOC, TIM_CHANNEL_2) != HAL_OK)
  {
    Error_Handler();
  }
  if (HAL_TIM_PWM_ConfigChannel(&htim1, &sConfigOC, TIM_CHANNEL_3) != HAL_OK)
  {
    Error_Handler();
  }
  sBreakDeadTimeConfig.OffStateRunMode = TIM_OSSR_DISABLE;
  sBreakDeadTimeConfig.OffStateIDLEMode = TIM_OSSI_DISABLE;
  sBreakDeadTimeConfig.LockLevel = TIM_LOCKLEVEL_OFF;
  sBreakDeadTimeConfig.DeadTime = 0;
  sBreakDeadTimeConfig.BreakState = TIM_BREAK_DISABLE;
  sBreakDeadTimeConfig.BreakPolarity = TIM_BREAKPOLARITY_HIGH;
  sBreakDeadTimeConfig.AutomaticOutput = TIM_AUTOMATICOUTPUT_DISABLE;
  if (HAL_TIMEx_ConfigBreakDeadTime(&htim1, &sBreakDeadTimeConfig) != HAL_OK)
  {
    Error_Handler();
  }
  HAL_TIM_MspPostInit(&htim1);

}

static void MX_TIM3_Init(void)
{

  TIM_MasterConfigTypeDef sMasterConfig = {0};
  TIM_OC_InitTypeDef sConfigOC = {0};

  htim3.Instance = TIM3;
  htim3.Init.Prescaler = 900-1;
  htim3.Init.CounterMode = TIM_COUNTERMODE_UP;
  htim3.Init.Period = 1000-1;
  htim3.Init.ClockDivision = TIM_CLOCKDIVISION_DIV1;
  htim3.Init.AutoReloadPreload = TIM_AUTORELOAD_PRELOAD_DISABLE;
  if (HAL_TIM_PWM_Init(&htim3) != HAL_OK)
  {
    Error_Handler();
  }
  sMasterConfig.MasterOutputTrigger = TIM_TRGO_RESET;
  sMasterConfig.MasterSlaveMode = TIM_MASTERSLAVEMODE_DISABLE;
  if (HAL_TIMEx_MasterConfigSynchronization(&htim3, &sMasterConfig) != HAL_OK)
  {
    Error_Handler();
  }
  sConfigOC.OCMode = TIM_OCMODE_PWM1;
  sConfigOC.Pulse = 0;
  sConfigOC.OCPolarity = TIM_OCPOLARITY_HIGH;
  sConfigOC.OCFastMode = TIM_OCFAST_DISABLE;
  if (HAL_TIM_PWM_ConfigChannel(&htim3, &sConfigOC, TIM_CHANNEL_4) != HAL_OK)
  {
    Error_Handler();
  }
  HAL_TIM_MspPostInit(&htim3);

}

static void MX_TIM9_Init(void)
{

  TIM_OC_InitTypeDef sConfigOC = {0};

  htim9.Instance = TIM9;
  htim9.Init.Prescaler = 692-1;
  htim9.Init.CounterMode = TIM_COUNTERMODE_UP;
  htim9.Init.Period = 255-1;
  htim9.Init.ClockDivision = TIM_CLOCKDIVISION_DIV1;
  htim9.Init.AutoReloadPreload = TIM_AUTORELOAD_PRELOAD_DISABLE;
  if (HAL_TIM_PWM_Init(&htim9) != HAL_OK)
  {
    Error_Handler();
  }
  sConfigOC.OCMode = TIM_OCMODE_PWM1;
  sConfigOC.Pulse = 0;
  sConfigOC.OCPolarity = TIM_OCPOLARITY_HIGH;
  sConfigOC.OCFastMode = TIM_OCFAST_DISABLE;
  if (HAL_TIM_PWM_ConfigChannel(&htim9, &sConfigOC, TIM_CHANNEL_1) != HAL_OK)
  {
    Error_Handler();
  }
  HAL_TIM_MspPostInit(&htim9);

}

static void MX_USART1_UART_Init(void)
{

  huart1.Instance = USART1;
  huart1.Init.BaudRate = 115200;
  huart1.Init.WordLength = UART_WORDLENGTH_8B;
  huart1.Init.StopBits = UART_STOPBITS_1;
  huart1.Init.Parity = UART_PARITY_NONE;
  huart1.Init.Mode = UART_MODE_TX_RX;
  huart1.Init.HwFlowCtl = UART_HWCONTROL_NONE;
  huart1.Init.OverSampling = UART_OVERSAMPLING_16;
  if (HAL_UART_Init(&huart1) != HAL_OK)
  {
    Error_Handler();
  }

}

static void MX_USART6_UART_Init(void)
{

  huart6.Instance = USART6;
  huart6.Init.BaudRate = 115200;
  huart6.Init.WordLength = UART_WORDLENGTH_8B;
  huart6.Init.StopBits = UART_STOPBITS_1;
  huart6.Init.Parity = UART_PARITY_NONE;
  huart6.Init.Mode = UART_MODE_TX_RX;
  huart6.Init.HwFlowCtl = UART_HWCONTROL_NONE;
  huart6.Init.OverSampling = UART_OVERSAMPLING_16;
  if (HAL_UART_Init(&huart6) != HAL_OK)
  {
    Error_Handler();
  }

}

static void MX_GPIO_Init(void)
{
  GPIO_InitTypeDef GPIO_InitStruct = {0};

  /* GPIO Ports Clock Enable */
  __HAL_RCC_GPIOE_CLK_ENABLE();
  __HAL_RCC_GPIOH_CLK_ENABLE();
  __HAL_RCC_GPIOC_CLK_ENABLE();
  __HAL_RCC_GPIOA_CLK_ENABLE();
  __HAL_RCC_GPIOB_CLK_ENABLE();
  __HAL_RCC_GPIOD_CLK_ENABLE();

  /*Configure GPIO pin Output Level */
  HAL_GPIO_WritePin(GPIOC, GPIO_PIN_0|GPIO_PIN_2, GPIO_PIN_RESET);

  /*Configure GPIO pin Output Level */
  HAL_GPIO_WritePin(GPIOA, GPIO_PIN_0|GPIO_PIN_2|GPIO_PIN_4|GPIO_PIN_6, GPIO_PIN_RESET);

  /*Configure GPIO pin Output Level */
  HAL_GPIO_WritePin(GPIOD, GPIO_PIN_12|GPIO_PIN_13|GPIO_PIN_14|GPIO_PIN_15
                          |GPIO_PIN_4|GPIO_PIN_6, GPIO_PIN_RESET);

  /*Configure GPIO pin Output Level */
  HAL_GPIO_WritePin(GPIOB, GPIO_PIN_3|GPIO_PIN_5, GPIO_PIN_RESET);

  /*Configure GPIO pins : PC0 PC2 */
  GPIO_InitStruct.Pin = GPIO_PIN_0|GPIO_PIN_2;
  GPIO_InitStruct.Mode = GPIO_MODE_OUTPUT_PP;
  GPIO_InitStruct.Pull = GPIO_NOPULL;
  GPIO_InitStruct.Speed = GPIO_SPEED_FREQ_LOW;
  HAL_GPIO_Init(GPIOC, &GPIO_InitStruct);

  /*Configure GPIO pins : PA0 PA2 PA4 PA6 */
  GPIO_InitStruct.Pin = GPIO_PIN_0|GPIO_PIN_2|GPIO_PIN_4|GPIO_PIN_6;
  GPIO_InitStruct.Mode = GPIO_MODE_OUTPUT_PP;
  GPIO_InitStruct.Pull = GPIO_NOPULL;
  GPIO_InitStruct.Speed = GPIO_SPEED_FREQ_LOW;
  HAL_GPIO_Init(GPIOA, &GPIO_InitStruct);

  /*Configure GPIO pins : PA1 PA3 PA5 PA7 */
  GPIO_InitStruct.Pin = GPIO_PIN_1|GPIO_PIN_3|GPIO_PIN_5|GPIO_PIN_7;
  GPIO_InitStruct.Mode = GPIO_MODE_INPUT;
  GPIO_InitStruct.Pull = GPIO_NOPULL;
  HAL_GPIO_Init(GPIOA, &GPIO_InitStruct);

  /*Configure GPIO pin : PE15 */
  GPIO_InitStruct.Pin = GPIO_PIN_15;
  GPIO_InitStruct.Mode = GPIO_MODE_INPUT;
  GPIO_InitStruct.Pull = GPIO_NOPULL;
  HAL_GPIO_Init(GPIOE, &GPIO_InitStruct);

  /*Configure GPIO pins : PB13 PB15 */
  GPIO_InitStruct.Pin = GPIO_PIN_13|GPIO_PIN_15;
  GPIO_InitStruct.Mode = GPIO_MODE_INPUT;
  GPIO_InitStruct.Pull = GPIO_NOPULL;
  HAL_GPIO_Init(GPIOB, &GPIO_InitStruct);

  /*Configure GPIO pins : PD12 PD13 PD14 PD15
                           PD4 PD6 */
  GPIO_InitStruct.Pin = GPIO_PIN_12|GPIO_PIN_13|GPIO_PIN_14|GPIO_PIN_15
                          |GPIO_PIN_4|GPIO_PIN_6;
  GPIO_InitStruct.Mode = GPIO_MODE_OUTPUT_PP;
  GPIO_InitStruct.Pull = GPIO_NOPULL;
  GPIO_InitStruct.Speed = GPIO_SPEED_FREQ_LOW;
  HAL_GPIO_Init(GPIOD, &GPIO_InitStruct);

  /*Configure GPIO pin : PA15 */
  GPIO_InitStruct.Pin = GPIO_PIN_15;
  GPIO_InitStruct.Mode = GPIO_MODE_INPUT;
  GPIO_InitStruct.Pull = GPIO_PULLUP;
  HAL_GPIO_Init(GPIOA, &GPIO_InitStruct);

  /*Configure GPIO pin : PC11 */
  GPIO_InitStruct.Pin = GPIO_PIN_11;
  GPIO_InitStruct.Mode = GPIO_MODE_INPUT;
  GPIO_InitStruct.Pull = GPIO_PULLUP;
  HAL_GPIO_Init(GPIOC, &GPIO_InitStruct);

  /*Configure GPIO pins : PD0 PD2 */
  GPIO_InitStruct.Pin = GPIO_PIN_0|GPIO_PIN_2;
  GPIO_InitStruct.Mode = GPIO_MODE_INPUT;
  GPIO_InitStruct.Pull = GPIO_PULLUP;
  HAL_GPIO_Init(GPIOD, &GPIO_InitStruct);

  /*Configure GPIO pins : PB3 PB5 */
  GPIO_InitStruct.Pin = GPIO_PIN_3|GPIO_PIN_5;
  GPIO_InitStruct.Mode = GPIO_MODE_OUTPUT_PP;
  GPIO_InitStruct.Pull = GPIO_NOPULL;
  GPIO_InitStruct.Speed = GPIO_SPEED_FREQ_LOW;
  HAL_GPIO_Init(GPIOB, &GPIO_InitStruct);

}

void StartDefaultTask(void *argument)
{
  /* USER CODE BEGIN 5 */
  /* Infinite loop */
  for(;;)
  {
		control_home();
		HAL_IWDG_Refresh(&hiwdg);
    osDelay(1);
  }
  /* USER CODE END 5 */
}

void StartTask02Function(void *argument)
{
  /* USER CODE BEGIN StartTask02Function */
  /* Infinite loop */
  for(;;)
  {
		if(HAL_GetTick() - timeout_to_send_dht11value >= 30000){
			DHT11_Init();
			read_DHT11(data_dht11);
			sprintf(data_dht11_char,"DHT11 %d.%d %d.%d",data_dht11[2],data_dht11[3],data_dht11[0],data_dht11[1]);
			serial_send_cmd(data_dht11_char);
			HAL_Delay(100);
			timeout_to_send_dht11value = HAL_GetTick();
		}

		if(HAL_GetTick() - timeout_to_send_gasvalue >= 20000){
			gas_in_ppm = read_gas_ppm_fixed();
			snprintf(data_GAS_char,sizeof(data_GAS_char),"GAS %4.2f",gas_in_ppm);
			serial_send_cmd(data_GAS_char);
			HAL_Delay(100);
			if(gas_in_ppm >= 10){
				music_play(500);
				HAL_Delay(200);
				music_play(650);
				HAL_Delay(200);
			}
			else{
				music_stop();
			}
			timeout_to_send_gasvalue = HAL_GetTick();
		}

    osDelay(1);
  }
  /* USER CODE END StartTask02Function */
}

void StartTask03Function(void *argument)
{
  /* USER CODE BEGIN StartTask03Function */
  /* Infinite loop */
  for(;;)
  {
		automation_home();

    osDelay(1);
  }
  /* USER CODE END StartTask03Function */
}

void StartTask04Function(void *argument)
{
  /* USER CODE BEGIN StartTask04Function */
  /* Infinite loop */
  for(;;)
  {
		if(HAL_GetTick() - timeout_to_send_pirvalue >= 5000){
			strcpy(data_PIR_char,read_pir_char());
			serial_send_cmd(data_PIR_char);
			HAL_Delay(100);

			timeout_to_send_pirvalue = HAL_GetTick();
		}

		if(HAL_GetTick() - timeout_to_send_rainvalue >= 7000){
			strcpy(data_RAIN_char,read_rain_char());

			serial_send_cmd(data_RAIN_char);
			HAL_Delay(100);

			timeout_to_send_rainvalue = HAL_GetTick();
		}

		if(HAL_GetTick() - timeout_to_send_flamevalue >= 3000){
			strcpy(data_FLAME_char,read_flame_char());
			serial_send_cmd(data_FLAME_char);
			HAL_Delay(100);

			timeout_to_send_flamevalue = HAL_GetTick();
		}

    osDelay(1);
  }
  /* USER CODE END StartTask04Function */
}

void StartTask05Function(void *argument)
{
  for(;;)
  {
    osDelay(1);
  }
}

void StartTask06Function(void *argument)
{
  for(;;)
  {
    osDelay(1);
  }
}

 /**
  * @brief  Period elapsed callback in non blocking mode
  * @note   This function is called  when TIM10 interrupt took place, inside
  * HAL_TIM_IRQHandler(). It makes a direct call to HAL_IncTick() to increment
  * a global variable "uwTick" used as application time base.
  * @param  htim : TIM handle
  * @retval None
  */
void HAL_TIM_PeriodElapsedCallback(TIM_HandleTypeDef *htim)
{
  if (htim->Instance == TIM10) {
    HAL_IncTick();
  }
}

void Error_Handler(void)
{
}

/************************ (C) COPYRIGHT STMicroelectronics *****END OF FILE****/
